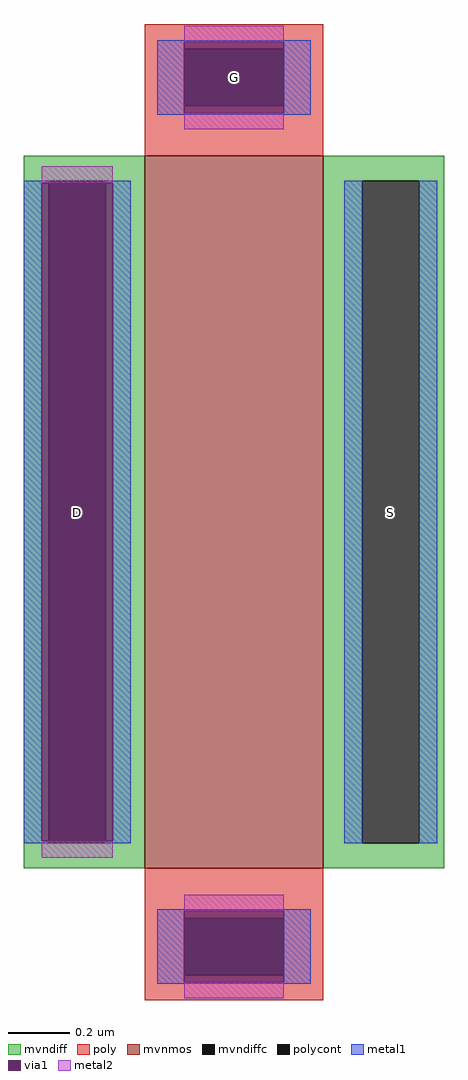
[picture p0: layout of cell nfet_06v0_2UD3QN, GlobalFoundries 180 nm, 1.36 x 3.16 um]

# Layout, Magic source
magic
tech gf180mcuD
magscale 3 26
<< mvnmos >>
rect -50 -200 50 200
<< mvndiff >>
rect -118 186 -50 200
rect -118 -186 -104 186
rect -72 -186 -50 186
rect -118 -200 -50 -186
rect 50 186 118 200
rect 50 -186 72 186
rect 104 -186 118 186
rect 50 -200 118 -186
<< mvndiffc >>
rect -104 -186 -72 186
rect 72 -186 104 186
<< poly >>
rect -50 260 50 274
rect -50 228 -28 260
rect 28 228 50 260
rect -50 200 50 228
rect -50 -228 50 -200
rect -50 -260 -28 -228
rect 28 -260 50 -228
rect -50 -274 50 -260
<< polycont >>
rect -28 228 28 260
rect -28 -260 28 -228
<< metal1 >>
rect -43 264 43 265
rect -43 224 -28 264
rect 28 224 43 264
rect -43 223 43 224
rect -118 185 -104 186
rect -72 185 -58 186
rect -118 -185 -108 185
rect -68 -185 -58 185
rect -118 -186 -104 -185
rect -72 -186 -58 -185
rect 62 -186 72 186
rect 104 -186 114 186
rect -43 -224 43 -223
rect -43 -264 -28 -224
rect 28 -264 43 -224
rect -43 -265 43 -264
<< via1 >>
rect -28 260 28 264
rect -28 228 28 260
rect -28 224 28 228
rect -108 -185 -104 185
rect -104 -185 -72 185
rect -72 -185 -68 185
rect -28 -228 28 -224
rect -28 -260 28 -228
rect -28 -264 28 -260
<< metal2 >>
rect -28 264 28 273
rect -28 215 28 224
rect -108 185 -68 194
rect -108 -194 -68 -185
rect -28 -224 28 -215
rect -28 -273 28 -264
<< labels >>
rlabel mvndiffc -88 0 -88 0 0 D
port 1 nsew
rlabel mvndiffc 88 0 88 0 0 S
port 2 nsew
rlabel polycont 0 244 0 244 0 G
port 3 nsew
<< properties >>
string gencell nfet_05v0
string library gf180mcu
string parameters w 2.0 l 0.5 m 1 ng 1 diffcov 100 polycov 100 guard 0 glc 1 grc 1 gtc 1 gbc 1 tbcov 100 rlcov 100 topc 1 botc 1 poverlap 0 doverlap 1 lmin 0.45 wmin 0.15 class mosfet compatible {nfet_05v0 nfet_06v0} full_metal 1 conn_gates 0 gate_ring 0 doports 1 viasrc 0 viadrn 100 viagate 100 ccols 1 viagb 0 viagr 0 viagl 0 viagt 0
<< end >>
